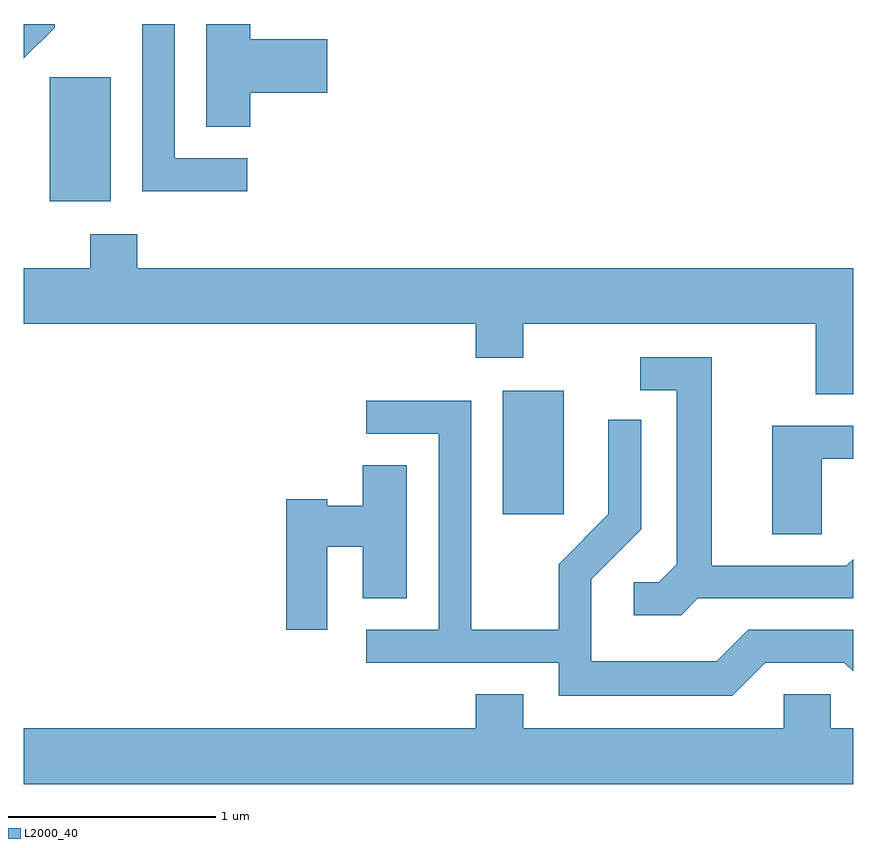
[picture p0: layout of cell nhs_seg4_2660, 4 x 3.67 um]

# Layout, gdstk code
import gdstk
lib = gdstk.Library(unit=1e-6, precision=1e-09)
def R(c, l, rs):  # rectangles x0, y0, x1, y1
    for r in rs: c.add(gdstk.rectangle(r[:2], r[2:], *l))
def P(c, l, *ps):  # polygons
    for p in ps: c.add(gdstk.Polygon(p, *l))
L2000_40 = (2000, 40)

nhs_seg4_2660 = lib.new_cell('nhs_seg4_2660')
R(nhs_seg4_2660, L2000_40, [(265.921,1271.616,266.214,1272.214), (263.736,1273.126,264.029,1273.724)])
P(nhs_seg4_2660, L2000_40, [(264.704,1273.651),(265.074,1273.651),(265.074,1273.909),(264.704,1273.909),(264.704,1273.982),(264.491,1273.982),(264.491,1273.486),(264.704,1273.486)],
  [(264.688,1273.334),(264.339,1273.334),(264.339,1273.982),(264.181,1273.982),(264.181,1273.176),(264.688,1273.176)],
  [(263.759,1273.964),(263.759,1273.982),(263.611,1273.982),(263.611,1273.816)],
  [(263.931,1272.969),(263.931,1272.804),(263.611,1272.804),(263.611,1272.536),(265.791,1272.536),(265.791,1272.371),(266.019,1272.371),(266.019,1272.536),(267.431,1272.536),(267.431,1272.196),(267.611,1272.196),(267.611,1272.804),(264.159,1272.804),(264.159,1272.969)],
  [(266.862,1271.211),(267.611,1271.211),(267.611,1271.401),(267.579,1271.369),(266.929,1271.369),(266.929,1272.374),(266.583,1272.374),(266.583,1272.216),(266.761,1272.216),(266.761,1271.377),(266.674,1271.289),(266.553,1271.289),(266.553,1271.131),(266.782,1271.131)],
  [(267.187,1270.901),(267.569,1270.901),(267.611,1270.859),(267.611,1271.059),(267.104,1271.059),(266.954,1270.909),(266.349,1270.909),(266.349,1271.304),(266.589,1271.544),(266.589,1272.073),(266.431,1272.073),(266.431,1271.617),(266.191,1271.377),(266.191,1271.059),(265.769,1271.059),(265.769,1272.164),(265.263,1272.164),(265.263,1272.006),(265.611,1272.006),(265.611,1271.059),(265.263,1271.059),(265.263,1270.901),(266.191,1270.901),(266.191,1270.741),(267.027,1270.741)],
  [(267.459,1271.886),(267.611,1271.886),(267.611,1272.044),(267.221,1272.044),(267.221,1271.521),(267.459,1271.521)],
  [(265.074,1271.461),(265.246,1271.461),(265.246,1271.211),(265.459,1271.211),(265.459,1271.854),(265.246,1271.854),(265.246,1271.659),(265.074,1271.659),(265.074,1271.689),(264.876,1271.689),(264.876,1271.061),(265.074,1271.061)],
  [(267.611,1270.584),(267.504,1270.584),(267.504,1270.749),(267.276,1270.749),(267.276,1270.584),(266.019,1270.584),(266.019,1270.749),(265.791,1270.749),(265.791,1270.584),(263.611,1270.584),(263.611,1270.316),(267.611,1270.316)])

lib.write_gds('nhs_seg4_2660.gds')
